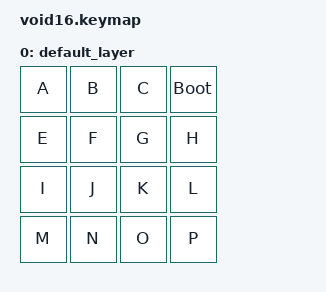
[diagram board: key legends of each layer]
#include <behaviors.dtsi>
#include <dt-bindings/zmk/keys.h>

/ {
    keymap {
        compatible = "zmk,keymap";

        default_layer {
            bindings = <
              &kp A    &kp B    &kp C    &bootloader
              &kp E    &kp F    &kp G    &kp H
              &kp I    &kp J    &kp K    &kp L
              &kp M    &kp N    &kp O    &kp P
            >;
        };
    };
};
